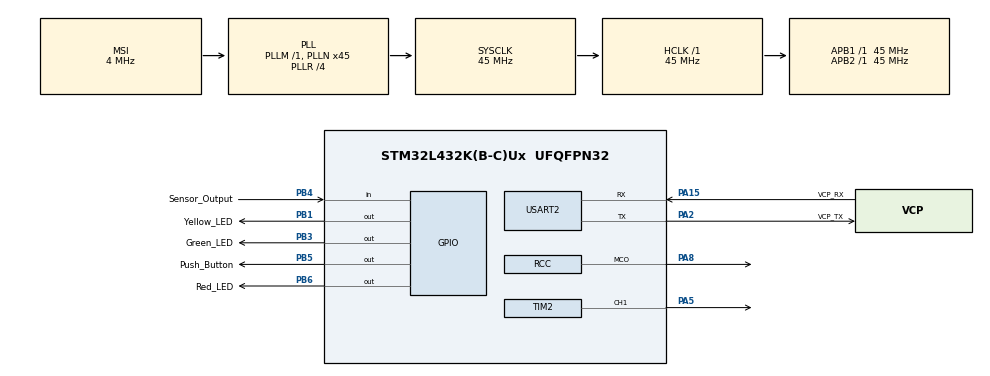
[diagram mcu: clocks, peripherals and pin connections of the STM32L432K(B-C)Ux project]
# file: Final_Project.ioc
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Mcu.Family=STM32L4
RCC.CortexFreq_Value=45000000
PA0.GPIO_Label=MCO [High speed clock in]
PB6.GPIO_Label=Red_LED
PA15\ (JTDI).Signal=USART2_RX
PC15-OSC32_OUT\ (PC15).Mode=LSE-External-Oscillator
RCC.SYSCLKSource=RCC_SYSCLKSOURCE_PLLCLK
ProjectManager.StackSize=0x400
PB3\ (JTDO-TRACESWO).Signal=GPIO_Output
PC14-OSC32_IN\ (PC14).Mode=LSE-External-Oscillator
PA14\ (JTCK-SWCLK).Signal=SYS_JTCK-SWCLK
PA15\ (JTDI).Mode=Asynchronous
RCC.HCLKFreq_Value=45000000
RCC.APB2TimFreq_Value=45000000
PB6.Signal=GPIO_Output
RCC.AHBFreq_Value=45000000
RCC.HSE_VALUE=8000000
USART2.VirtualMode-Asynchronous=VM_ASYNC
RCC.PLLMUL=RCC_PLLMUL_4
PB1.GPIO_Label=Yellow_LED
PA0.Mode=HSE-External-Clock-Source-for-LittleOrca
PA8.Signal=RCC_MCO
TIM2.Channel-PWM\ Generation1\ CH1=TIM_CHANNEL_1
PA0.Signal=RCC_CK_IN
Mcu.Package=UFQFPN32
TIM2.Prescaler=900-1
PB1.Signal=GPIO_Output
PA2.GPIO_Label=VCP_TX
PB5.GPIO_Label=Push_Button
RCC.APB1TimFreq_Value=45000000
PA13\ (JTMS-SWDIO).Signal=SYS_JTMS-SWDIO
RCC.HSI48_VALUE=48000000
RCC.MSI_VALUE=4000000
PA14\ (JTCK-SWCLK).Mode=Serial_Wire
SH.S_TIM2_CH1.0=TIM2_CH1,PWM Generation1 CH1
PC15-OSC32_OUT\ (PC15).Signal=RCC_OSC32_OUT
PA14\ (JTCK-SWCLK).GPIO_Label=SWCLK
PB3\ (JTDO-TRACESWO).GPIO_Label=Green_LED
RCC.HSI16_VALUE=16000000
ProjectManager.TargetToolchain=TrueSTUDIO
PA5.Signal=S_TIM2_CH1
board=NUCLEO-L432KC
RCC.VCOOutputFreq_Value=180000000
RCC.APB2Freq_Value=45000000
PA13\ (JTMS-SWDIO).GPIO_Label=SWDIO
VP_TIM2_VS_ClockSourceINT.Mode=Internal
TIM2.Period=1000-1
PA15\ (JTDI).GPIO_Label=VCP_RX
Mcu.Name=STM32L432K(B-C)Ux
PA2.Signal=USART2_TX
PA13\ (JTMS-SWDIO).Mode=Serial_Wire
RCC.SYSCLKFreq_VALUE=45000000
PB5.Signal=GPIO_Output
PC14-OSC32_IN\ (PC14).Signal=RCC_OSC32_IN
ProjectManager.HeapSize=0x200
RCC.HSI_VALUE=16000000
NVIC.PriorityGroup=NVIC_PRIORITYGROUP_4
RCC.PLLR=RCC_PLLR_DIV4
RCC.PLLN=45
PA2.Mode=Asynchronous
PA8.Mode=Clock-out
PB4\ (NJTRST).GPIO_Label=Sensor_Output
RCC.APB1Freq_Value=45000000
PB4\ (NJTRST).Signal=GPIO_Input

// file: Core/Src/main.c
/* USER CODE BEGIN Header */
/**
  ******************************************************************************
  * @file           : main.c
  * @brief          : Main program body
  ******************************************************************************
  * @attention
  *
  * <h2><center>&copy; Copyright (c) 2020 STMicroelectronics.
  * All rights reserved.</center></h2>
  *
  * This software component is licensed by ST under BSD 3-Clause license,
  * the "License"; You may not use this file except in compliance with the
  * License. You may obtain a copy of the License at:
  *                        opensource.org/licenses/BSD-3-Clause
  *
  ******************************************************************************
  */
/* USER CODE END Header */
#include "main.h"

/* USER CODE BEGIN PTD */
typedef enum
{
	Door_Opened_State,
	Door_Opening_State,
	Door_Closing_State,
	Door_Closed_State,
} eSystemState;

/* USER CODE END PTD */

TIM_HandleTypeDef htim2;

UART_HandleTypeDef huart2;

void SystemClock_Config(void);
static void MX_GPIO_Init(void);
static void MX_USART2_UART_Init(void);
static void MX_TIM2_Init(void);

/* USER CODE BEGIN 0 */
int counter = 25;	// Motor Position Counter, 25 = 0 degrees, 125 = 180 degrees

eSystemState Door_Opened(void)
{
	HAL_GPIO_WritePin(GPIOB, Green_LED_Pin, GPIO_PIN_SET);		// Green LED "ON", signify door opened
	return Door_Opened_State;
}

eSystemState Door_Opening(void)
{
	HAL_GPIO_WritePin(GPIOB, Red_LED_Pin, GPIO_PIN_RESET);		// Red LED "OFF", signify door closed
	HAL_Delay(1000);	// Delay 1 second
	HAL_GPIO_WritePin(GPIOB, Yellow_LED_Pin, GPIO_PIN_SET); 	// Yellow LED "ON", signify door opening/closing
	HAL_Delay(1000);	// Delay 1 second
	if(counter == 25)
	{
		htim2.Instance->CCR1 = 125;				// Turn motor 125 degrees, fully opened
		counter = 125;							// Update Motor Position 180 degrees
	}
	else if(counter != 25)
	{
		while (counter != 125) {
			counter = counter + 5;				// Inc Motor Position Counter
			htim2.Instance->CCR1 = counter;		// Returning door to fully opened if sensor tripped
		}
	}
	HAL_Delay(2000);	// Delay 2 seconds
	HAL_GPIO_WritePin(GPIOB, Yellow_LED_Pin, GPIO_PIN_RESET);	// Yellow LED "OFF", signify door not opening/closing
	return Door_Opened_State;
}

eSystemState Door_Closing(void)
{
	HAL_GPIO_WritePin(GPIOB, Green_LED_Pin, GPIO_PIN_RESET);	// Green LED "OFF", signify door not opened
	HAL_Delay(1000);	// Delay 1 second
	HAL_GPIO_WritePin(GPIOB, Yellow_LED_Pin, GPIO_PIN_SET);		// Yellow LED "ON", signify door opening/closing
	HAL_Delay(1000);	// Delay 1 second
	while (counter != 25) {		// Motor control with sensor
		if(HAL_GPIO_ReadPin(GPIOB, Sensor_Output_Pin) == GPIO_PIN_RESET)  // if sensor is tripped, open door
			return Door_Opening_State;
		counter = counter - 5;	// Decr Motor Position Counter
		htim2.Instance->CCR1 = counter;	// close door by 5 degrees
		HAL_Delay(300); // Delay 300 milliseconds
	}
	HAL_Delay(2000);	// Delay 2 seconds
	HAL_GPIO_WritePin(GPIOB, Yellow_LED_Pin, GPIO_PIN_RESET);	// Yellow LED "OFF", signify door done opening/closing
	return Door_Closed_State;
}

eSystemState Door_Closed(void)
{
	HAL_GPIO_WritePin(GPIOB, Red_LED_Pin, GPIO_PIN_SET);	// Red LED "ON", signify door closed
	return Door_Closed_State;
}
/* USER CODE END 0 */

int main(void)
{

  /* MCU Configuration--------------------------------------------------------*/

  /* Reset of all peripherals, Initializes the Flash interface and the Systick. */
  HAL_Init();

  /* Configure the system clock */
  SystemClock_Config();

  /* Initialize all configured peripherals */
  MX_GPIO_Init();
  MX_USART2_UART_Init();
  MX_TIM2_Init();
  /* USER CODE BEGIN 2 */
  HAL_TIM_PWM_Start (&htim2, TIM_CHANNEL_1);
  htim2.Instance->CCR1 = 25;
  eSystemState eNextState = Door_Closed();
  /* USER CODE END 2 */

  /* Infinite loop */
  /* USER CODE BEGIN WHILE */
  while (1)
  {
	  switch(eNextState)
	  {
	  	  case Door_Closed_State:
	  		  if(HAL_GPIO_ReadPin(GPIOB, Push_Button_Pin)) {
	  			  eNextState = Door_Opening();			// Door button pressed
	  			  break;
	  		  }
	    	  eNextState = Door_Closed();				// Door button not pressed
	    	  break;
	      case Door_Opening_State:
	    	  eNextState = Door_Opened();
	    	  break;
  	  	  case Door_Opened_State:
  	  		  if(HAL_GPIO_ReadPin(GPIOB, Push_Button_Pin)) {
  	  			  eNextState = Door_Closing();			// Door button pressed
  	  			  break;
  	  		  }
  	  		  eNextState = Door_Opened();				// Door button not pressed
  	  		  break;
  	  	  case Door_Closing_State:
  	  		  eNextState = Door_Closed();
  	  		  break;
  	  	  default:
  	  		  eNextState = Door_Closed();
  	  		  break;
	  }
    /* USER CODE END WHILE */

  }
}

void SystemClock_Config(void)
{
  RCC_OscInitTypeDef RCC_OscInitStruct = {0};
  RCC_ClkInitTypeDef RCC_ClkInitStruct = {0};
  RCC_PeriphCLKInitTypeDef PeriphClkInit = {0};

  /** Configure LSE Drive Capability
  */
  HAL_PWR_EnableBkUpAccess();
  __HAL_RCC_LSEDRIVE_CONFIG(RCC_LSEDRIVE_LOW);
  /** Initializes the RCC Oscillators according to the specified parameters
  * in the RCC_OscInitTypeDef structure.
  */
  RCC_OscInitStruct.OscillatorType = RCC_OSCILLATORTYPE_LSE|RCC_OSCILLATORTYPE_MSI;
  RCC_OscInitStruct.LSEState = RCC_LSE_ON;
  RCC_OscInitStruct.MSIState = RCC_MSI_ON;
  RCC_OscInitStruct.MSICalibrationValue = 0;
  RCC_OscInitStruct.MSIClockRange = RCC_MSIRANGE_6;
  RCC_OscInitStruct.PLL.PLLState = RCC_PLL_ON;
  RCC_OscInitStruct.PLL.PLLSource = RCC_PLLSOURCE_MSI;
  RCC_OscInitStruct.PLL.PLLM = 1;
  RCC_OscInitStruct.PLL.PLLN = 45;
  RCC_OscInitStruct.PLL.PLLP = RCC_PLLP_DIV7;
  RCC_OscInitStruct.PLL.PLLQ = RCC_PLLQ_DIV2;
  RCC_OscInitStruct.PLL.PLLR = RCC_PLLR_DIV4;
  if (HAL_RCC_OscConfig(&RCC_OscInitStruct) != HAL_OK)
  {
    Error_Handler();
  }
  /** Initializes the CPU, AHB and APB buses clocks
  */
  RCC_ClkInitStruct.ClockType = RCC_CLOCKTYPE_HCLK|RCC_CLOCKTYPE_SYSCLK
                              |RCC_CLOCKTYPE_PCLK1|RCC_CLOCKTYPE_PCLK2;
  RCC_ClkInitStruct.SYSCLKSource = RCC_SYSCLKSOURCE_PLLCLK;
  RCC_ClkInitStruct.AHBCLKDivider = RCC_SYSCLK_DIV1;
  RCC_ClkInitStruct.APB1CLKDivider = RCC_HCLK_DIV1;
  RCC_ClkInitStruct.APB2CLKDivider = RCC_HCLK_DIV1;

  if (HAL_RCC_ClockConfig(&RCC_ClkInitStruct, FLASH_LATENCY_2) != HAL_OK)
  {
    Error_Handler();
  }
  PeriphClkInit.PeriphClockSelection = RCC_PERIPHCLK_USART2;
  PeriphClkInit.Usart2ClockSelection = RCC_USART2CLKSOURCE_PCLK1;
  if (HAL_RCCEx_PeriphCLKConfig(&PeriphClkInit) != HAL_OK)
  {
    Error_Handler();
  }
  HAL_RCC_MCOConfig(RCC_MCO1, RCC_MCO1SOURCE_SYSCLK, RCC_MCODIV_1);
  /** Configure the main internal regulator output voltage
  */
  if (HAL_PWREx_ControlVoltageScaling(PWR_REGULATOR_VOLTAGE_SCALE1) != HAL_OK)
  {
    Error_Handler();
  }
  /** Enable MSI Auto calibration
  */
  HAL_RCCEx_EnableMSIPLLMode();
}

static void MX_TIM2_Init(void)
{

  TIM_ClockConfigTypeDef sClockSourceConfig = {0};
  TIM_MasterConfigTypeDef sMasterConfig = {0};
  TIM_OC_InitTypeDef sConfigOC = {0};

  htim2.Instance = TIM2;
  htim2.Init.Prescaler = 900-1;
  htim2.Init.CounterMode = TIM_COUNTERMODE_UP;
  htim2.Init.Period = 1000-1;
  htim2.Init.ClockDivision = TIM_CLOCKDIVISION_DIV1;
  htim2.Init.AutoReloadPreload = TIM_AUTORELOAD_PRELOAD_DISABLE;
  if (HAL_TIM_Base_Init(&htim2) != HAL_OK)
  {
    Error_Handler();
  }
  sClockSourceConfig.ClockSource = TIM_CLOCKSOURCE_INTERNAL;
  if (HAL_TIM_ConfigClockSource(&htim2, &sClockSourceConfig) != HAL_OK)
  {
    Error_Handler();
  }
  if (HAL_TIM_PWM_Init(&htim2) != HAL_OK)
  {
    Error_Handler();
  }
  sMasterConfig.MasterOutputTrigger = TIM_TRGO_RESET;
  sMasterConfig.MasterSlaveMode = TIM_MASTERSLAVEMODE_DISABLE;
  if (HAL_TIMEx_MasterConfigSynchronization(&htim2, &sMasterConfig) != HAL_OK)
  {
    Error_Handler();
  }
  sConfigOC.OCMode = TIM_OCMODE_PWM1;
  sConfigOC.Pulse = 0;
  sConfigOC.OCPolarity = TIM_OCPOLARITY_HIGH;
  sConfigOC.OCFastMode = TIM_OCFAST_DISABLE;
  if (HAL_TIM_PWM_ConfigChannel(&htim2, &sConfigOC, TIM_CHANNEL_1) != HAL_OK)
  {
    Error_Handler();
  }
  HAL_TIM_MspPostInit(&htim2);

}

static void MX_USART2_UART_Init(void)
{

  huart2.Instance = USART2;
  huart2.Init.BaudRate = 115200;
  huart2.Init.WordLength = UART_WORDLENGTH_8B;
  huart2.Init.StopBits = UART_STOPBITS_1;
  huart2.Init.Parity = UART_PARITY_NONE;
  huart2.Init.Mode = UART_MODE_TX_RX;
  huart2.Init.HwFlowCtl = UART_HWCONTROL_NONE;
  huart2.Init.OverSampling = UART_OVERSAMPLING_16;
  huart2.Init.OneBitSampling = UART_ONE_BIT_SAMPLE_DISABLE;
  huart2.AdvancedInit.AdvFeatureInit = UART_ADVFEATURE_NO_INIT;
  if (HAL_UART_Init(&huart2) != HAL_OK)
  {
    Error_Handler();
  }

}

static void MX_GPIO_Init(void)
{
  GPIO_InitTypeDef GPIO_InitStruct = {0};

  /* GPIO Ports Clock Enable */
  __HAL_RCC_GPIOC_CLK_ENABLE();
  __HAL_RCC_GPIOA_CLK_ENABLE();
  __HAL_RCC_GPIOB_CLK_ENABLE();

  /*Configure GPIO pin Output Level */
  HAL_GPIO_WritePin(GPIOB, Yellow_LED_Pin|Green_LED_Pin|Push_Button_Pin|Red_LED_Pin, GPIO_PIN_RESET);

  /*Configure GPIO pins : Yellow_LED_Pin Green_LED_Pin Push_Button_Pin Red_LED_Pin */
  GPIO_InitStruct.Pin = Yellow_LED_Pin|Green_LED_Pin|Push_Button_Pin|Red_LED_Pin;
  GPIO_InitStruct.Mode = GPIO_MODE_OUTPUT_PP;
  GPIO_InitStruct.Pull = GPIO_NOPULL;
  GPIO_InitStruct.Speed = GPIO_SPEED_FREQ_LOW;
  HAL_GPIO_Init(GPIOB, &GPIO_InitStruct);

  /*Configure GPIO pin : PA8 */
  GPIO_InitStruct.Pin = GPIO_PIN_8;
  GPIO_InitStruct.Mode = GPIO_MODE_AF_PP;
  GPIO_InitStruct.Pull = GPIO_NOPULL;
  GPIO_InitStruct.Speed = GPIO_SPEED_FREQ_LOW;
  GPIO_InitStruct.Alternate = GPIO_AF0_MCO;
  HAL_GPIO_Init(GPIOA, &GPIO_InitStruct);

  /*Configure GPIO pin : Sensor_Output_Pin */
  GPIO_InitStruct.Pin = Sensor_Output_Pin;
  GPIO_InitStruct.Mode = GPIO_MODE_INPUT;
  GPIO_InitStruct.Pull = GPIO_NOPULL;
  HAL_GPIO_Init(Sensor_Output_GPIO_Port, &GPIO_InitStruct);

}

void Error_Handler(void)
{
}

/************************ (C) COPYRIGHT STMicroelectronics *****END OF FILE****/
